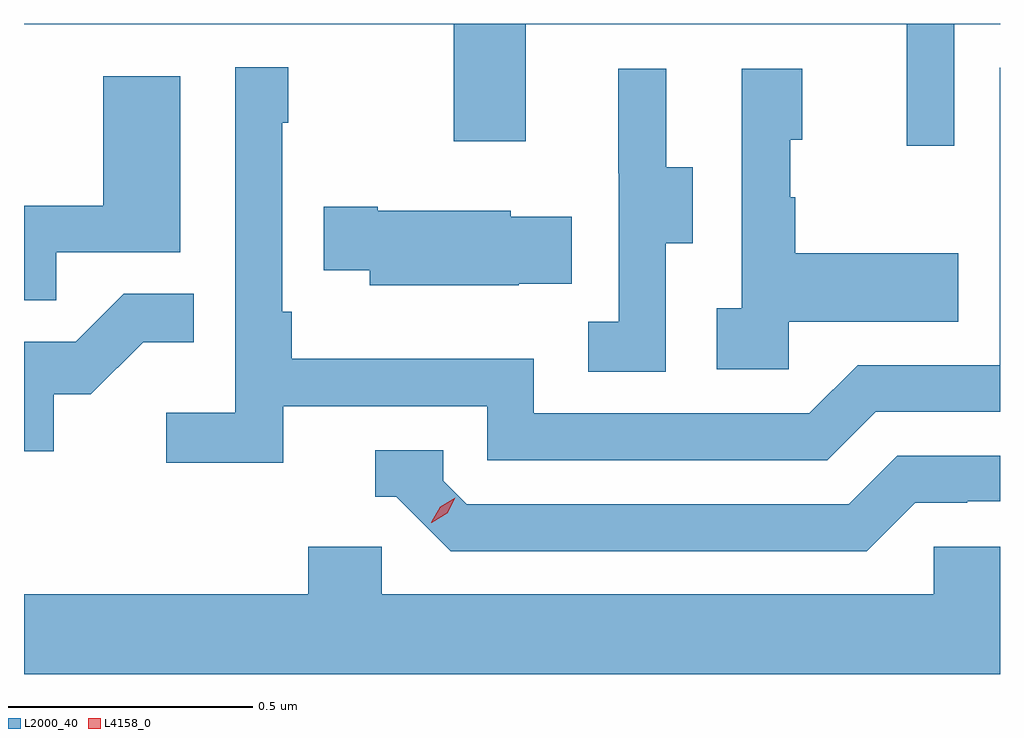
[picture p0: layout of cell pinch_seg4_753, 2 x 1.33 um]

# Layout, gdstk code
import gdstk
lib = gdstk.Library(unit=1e-6, precision=1e-09)
def P(c, l, *ps):  # polygons
    for p in ps: c.add(gdstk.Polygon(p, *l))
L2000_40 = (2000, 40)
L4158_0 = (4158, 0)

pinch_seg4_753 = lib.new_cell('pinch_seg4_753')
P(pinch_seg4_753, L2000_40, [(877.695,824.792),(877.789,824.792),(877.789,824.794),(875.789,824.794),(875.789,824.792),(876.67,824.792),(876.67,824.553),(876.817,824.553),(876.817,824.792),(877.598,824.792),(877.598,824.544),(877.695,824.544)],
  [(876.32,824.01),(876.738,824.01),(876.738,823.899),(877.435,823.899),(877.534,823.998),(877.789,823.998),(877.789,824.703),(877.788,824.703),(877.788,824.094),(877.497,824.094),(877.398,823.995),(876.834,823.995),(876.834,824.107),(876.338,824.107),(876.338,824.203),(876.318,824.203),(876.318,824.591),(876.331,824.591),(876.331,824.704),(876.222,824.704),(876.222,823.996),(876.081,823.996),(876.081,823.894),(876.32,823.894)],
  [(877.104,824.344),(877.159,824.344),(877.159,824.499),(877.105,824.499),(877.105,824.701),(877.007,824.701),(877.007,824.487),(877.008,824.487),(877.008,824.183),(876.945,824.183),(876.945,824.08),(877.104,824.08)],
  [(877.356,824.183),(877.703,824.183),(877.703,824.323),(877.369,824.323),(877.369,824.438),(877.359,824.438),(877.359,824.556),(877.384,824.556),(877.384,824.701),(877.26,824.701),(877.26,824.21),(877.209,824.21),(877.209,824.085),(877.356,824.085)],
  [(875.855,824.325),(876.109,824.325),(876.109,824.686),(875.951,824.686),(875.951,824.421),(875.789,824.421),(875.789,824.227),(875.855,824.227)],
  [(876.803,824.261),(876.911,824.261),(876.911,824.398),(876.786,824.398),(876.786,824.41),(876.514,824.41),(876.514,824.418),(876.403,824.418),(876.403,824.288),(876.497,824.288),(876.497,824.258),(876.803,824.258)],
  [(875.85,824.034),(875.926,824.034),(876.033,824.141),(876.137,824.141),(876.137,824.24),(875.993,824.24),(875.895,824.142),(875.789,824.142),(875.789,823.917),(875.85,823.917)],
  [(877.615,823.812),(877.722,823.812),(877.722,823.815),(877.789,823.815),(877.789,823.908),(877.578,823.908),(877.479,823.809),(876.696,823.809),(876.648,823.857),(876.648,823.92),(876.509,823.92),(876.509,823.824),(876.552,823.824),(876.663,823.713),(877.516,823.713)],
  [(877.789,823.722),(877.653,823.722),(877.653,823.624),(876.522,823.624),(876.522,823.722),(876.371,823.722),(876.371,823.624),(875.789,823.624),(875.789,823.46),(877.789,823.46)])
P(pinch_seg4_753, L4158_0, [(876.624,823.771),(876.624,823.772),(876.642,823.804),(876.673,823.822),(876.673,823.822),(876.673,823.822),(876.656,823.79),(876.625,823.771)])

lib.write_gds('pinch_seg4_753.gds')
